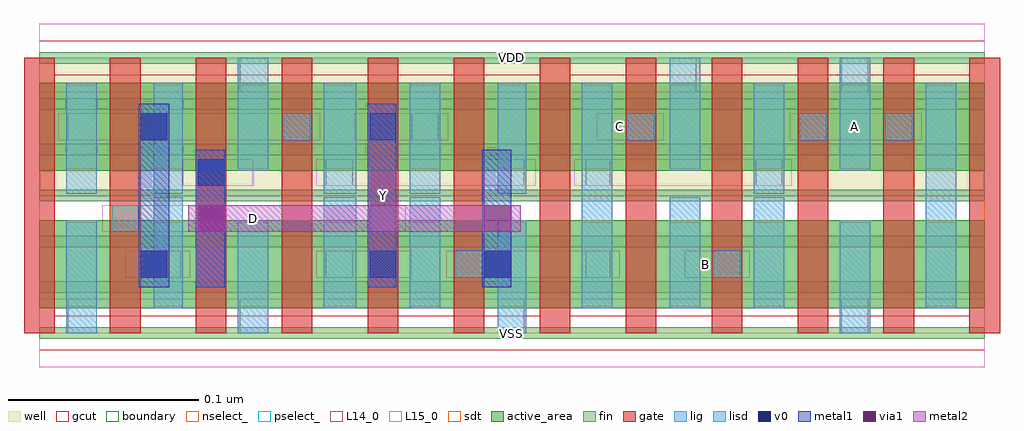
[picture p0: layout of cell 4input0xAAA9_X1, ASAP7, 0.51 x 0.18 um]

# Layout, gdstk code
import gdstk
lib = gdstk.Library(unit=1e-6, precision=1e-09)
def R(c, l, rs):  # rectangles x0, y0, x1, y1
    for r in rs: c.add(gdstk.rectangle(r[:2], r[2:], *l))
def A(c, l, x, y, w, h, nx, ny, dx, dy):  # array of equal rectangles
    R(c, l, [(x+i*dx, y+j*dy, x+i*dx+w, y+j*dy+h) for i in range(nx) for j in range(ny)])
def P(c, l, *ps):  # polygons
    for p in ps: c.add(gdstk.Polygon(p, *l))
well = (1, 0)
fin = (2, 0)
gate = (7, 0)
gcut = (10, 0)
active_area = (11, 0)
nselect_ = (12, 0)
pselect_ = (13, 0)
L14_0 = (14, 0)
L15_0 = (15, 0)
lig = (16, 0)
lisd = (17, 0)
v0 = (18, 0)
metal1 = (19, 0)
metal2 = (20, 0)
via1 = (21, 0)
sdt = (88, 0)
boundary = (100, 0)

c_4input0xaaa9_x1 = lib.new_cell('4input0xAAA9_X1')
R(c_4input0xaaa9_x1, well, [(0,0.072,0.495,0.144)])
A(c_4input0xaaa9_x1, fin, 0, -0.003, 0.495, 0.006, 1, 7, 0, 0.024)
A(c_4input0xaaa9_x1, gate, -0.008, 0, 0.016, 0.144, 12, 1, 0.045, 0)
P(c_4input0xaaa9_x1, gcut, [(0,-0.009),(0,0),(-0.008,0),(-0.008,0.135),(0.008,0.135),(0.008,0.009),(0.262,0.009),(0.262,0.135),(0.278,0.135),(0.278,0.009),(0.487,0.009),(0.487,0.135),(-0.008,0.135),(-0.008,0.144),(0,0.144),(0,0.153),(0.495,0.153),(0.495,0.144),(0.503,0.144),(0.503,0),(0.495,0),(0.495,-0.009)])
R(c_4input0xaaa9_x1, active_area, [(0,0.013,0.495,0.059), (0,0.085,0.495,0.131)])
R(c_4input0xaaa9_x1, nselect_, [(0,0,0.495,0.072)])
R(c_4input0xaaa9_x1, pselect_, [(0,0.072,0.495,0.144)])
R(c_4input0xaaa9_x1, L14_0, [(0.015,0,0.03,0.018), (0.105,0,0.12,0.018), (0.24,0,0.254,0.018), (0.42,0,0.434,0.018), (0.06,0.029,0.074,0.043), (0.15,0.029,0.164,0.043), (0.218,0.029,0.232,0.043), (0.286,0.029,0.299,0.043), (0.353,0.029,0.367,0.043), (0.038,0.053,0.052,0.067), (0.173,0.053,0.187,0.067), (0.083,0.077,0.097,0.091), (0.15,0.077,0.164,0.091), (0.24,0.077,0.254,0.091), (0.286,0.077,0.299,0.091), (0.375,0.077,0.389,0.091), (0.015,0.101,0.03,0.115), (0.128,0.101,0.142,0.115), (0.195,0.101,0.209,0.115), (0.308,0.101,0.322,0.115), (0.398,0.101,0.412,0.115), (0.443,0.101,0.457,0.115), (0.105,0.126,0.12,0.144), (0.33,0.126,0.344,0.144), (0.42,0.126,0.434,0.144)])
R(c_4input0xaaa9_x1, L15_0, [(0,-0.018,0.495,0.018), (0.045,0.029,0.079,0.043), (0.145,0.029,0.195,0.043), (0.213,0.029,0.304,0.043), (0.338,0.029,0.372,0.043), (0.033,0.053,0.192,0.067), (0.075,0.077,0.112,0.091), (0.145,0.077,0.26,0.091), (0.28,0.077,0.394,0.091), (0.01,0.101,0.147,0.115), (0.165,0.101,0.214,0.115), (0.292,0.101,0.327,0.115), (0.393,0.101,0.462,0.115), (0,0.126,0.495,0.162)])
R(c_4input0xaaa9_x1, lig, [(0.218,0.029,0.232,0.043), (0.353,0.029,0.367,0.043), (0.038,0.053,0.052,0.067), (0.173,0.053,0.187,0.067), (0.083,0.077,0.097,0.091), (0.128,0.101,0.142,0.115), (0.308,0.101,0.322,0.115), (0.398,0.101,0.412,0.115), (0.443,0.101,0.457,0.115)])
A(c_4input0xaaa9_x1, lisd, 0.014, 0.073, 0.016, 0.058, 3, 1, 0.18, 0)
R(c_4input0xaaa9_x1, lisd, [(0.014,0,0.03,0.059), (0.104,0,0.12,0.059), (0.24,0,0.255,0.059), (0.419,0,0.435,0.059), (0.06,0.013,0.075,0.071), (0.149,0.013,0.166,0.071), (0.194,0.013,0.21,0.071), (0.284,0.013,0.3,0.131), (0.33,0.013,0.346,0.071), (0.374,0.013,0.39,0.071), (0.464,0.013,0.48,0.131), (0.06,0.073,0.075,0.131), (0.149,0.073,0.166,0.131), (0.24,0.073,0.255,0.131), (0.104,0.085,0.12,0.144), (0.33,0.085,0.346,0.144), (0.419,0.085,0.435,0.144)])
R(c_4input0xaaa9_x1, v0, [(0.053,0.029,0.067,0.043), (0.173,0.029,0.187,0.043), (0.233,0.029,0.247,0.043), (0.083,0.077,0.097,0.091), (0.053,0.101,0.067,0.115), (0.173,0.101,0.187,0.115)])
R(c_4input0xaaa9_x1, metal1, [(0.052,0.024,0.068,0.12), (0.082,0.024,0.097,0.096), (0.172,0.024,0.187,0.12), (0.232,0.024,0.247,0.096)])
R(c_4input0xaaa9_x1, metal2, [(0.078,0.053,0.252,0.067)])
R(c_4input0xaaa9_x1, via1, [(0.083,0.053,0.097,0.067), (0.233,0.053,0.247,0.067)])
A(c_4input0xaaa9_x1, sdt, 0.014, 0.014, 0.016, 0.044, 4, 2, 0.09, 0.072)
A(c_4input0xaaa9_x1, sdt, 0.374, 0.014, 0.016, 0.044, 3, 2, 0.045, 0.072)
R(c_4input0xaaa9_x1, sdt, [(0.06,0.014,0.075,0.058), (0.149,0.014,0.166,0.058), (0.24,0.014,0.255,0.058), (0.33,0.014,0.346,0.058), (0.06,0.086,0.075,0.13), (0.149,0.086,0.166,0.13), (0.24,0.086,0.255,0.13), (0.33,0.086,0.346,0.13)])
R(c_4input0xaaa9_x1, boundary, [(0,0,0.495,0.144)])
c_4input0xaaa9_x1.add(gdstk.Label('D', (0.112,0.06), layer=15, texttype=251))
c_4input0xaaa9_x1.add(gdstk.Label('VSS', (0.247,0), layer=15, texttype=251))
c_4input0xaaa9_x1.add(gdstk.Label('VDD', (0.247,0.144), layer=15, texttype=251))
c_4input0xaaa9_x1.add(gdstk.Label('C', (0.304,0.108), layer=15, texttype=251))
c_4input0xaaa9_x1.add(gdstk.Label('VSS', (0.247,0), layer=15, texttype=251))
c_4input0xaaa9_x1.add(gdstk.Label('VDD', (0.247,0.144), layer=15, texttype=251))
c_4input0xaaa9_x1.add(gdstk.Label('B', (0.349,0.036), layer=15, texttype=251))
c_4input0xaaa9_x1.add(gdstk.Label('VSS', (0.247,0), layer=15, texttype=251))
c_4input0xaaa9_x1.add(gdstk.Label('VDD', (0.247,0.144), layer=15, texttype=251))
c_4input0xaaa9_x1.add(gdstk.Label('A', (0.427,0.108), layer=15, texttype=251))
c_4input0xaaa9_x1.add(gdstk.Label('VSS', (0.247,0), layer=15, texttype=251))
c_4input0xaaa9_x1.add(gdstk.Label('VDD', (0.247,0.144), layer=15, texttype=251))
c_4input0xaaa9_x1.add(gdstk.Label('VSS', (0.247,0), layer=15, texttype=251))
c_4input0xaaa9_x1.add(gdstk.Label('VDD', (0.247,0.144), layer=15, texttype=251))
c_4input0xaaa9_x1.add(gdstk.Label('VSS', (0.247,0), layer=3, texttype=251))
c_4input0xaaa9_x1.add(gdstk.Label('VSS', (0.247,0), layer=3, texttype=251))
c_4input0xaaa9_x1.add(gdstk.Label('VSS', (0.247,0), layer=3, texttype=251))
c_4input0xaaa9_x1.add(gdstk.Label('VSS', (0.247,0), layer=3, texttype=251))
c_4input0xaaa9_x1.add(gdstk.Label('VSS', (0.247,0), layer=3, texttype=251))
c_4input0xaaa9_x1.add(gdstk.Label('VDD', (0.247,0.144), layer=1, texttype=251))
c_4input0xaaa9_x1.add(gdstk.Label('VDD', (0.247,0.144), layer=1, texttype=251))
c_4input0xaaa9_x1.add(gdstk.Label('VDD', (0.247,0.144), layer=1, texttype=251))
c_4input0xaaa9_x1.add(gdstk.Label('VDD', (0.247,0.144), layer=1, texttype=251))
c_4input0xaaa9_x1.add(gdstk.Label('VDD', (0.247,0.144), layer=1, texttype=251))
c_4input0xaaa9_x1.add(gdstk.Label('Y', (0.18,0.072), layer=19, texttype=251))

lib.write_gds('4input0xAAA9_X1.gds')
